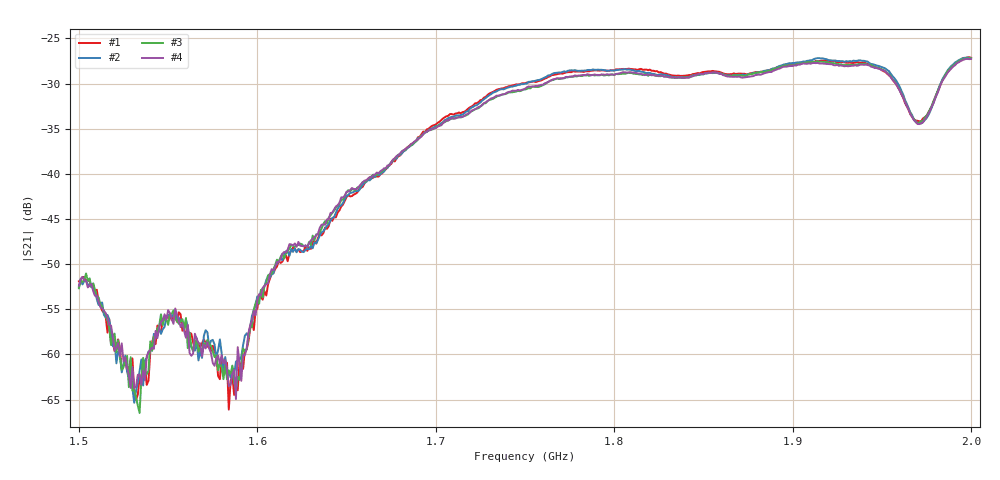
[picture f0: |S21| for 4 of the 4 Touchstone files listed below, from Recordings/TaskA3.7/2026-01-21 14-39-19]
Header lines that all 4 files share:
! NanoVNA-App by SYSJOINT et al v1.1.209 (+OD18)
! Start: 1,5GHz Stop: 2GHz Points: 501
! S-Parameter data: F S11 S21 S12 S22
# Hz S RI R 50
!  Frequency  S11_Real  S11_Imag  S21_Real  S21_Imag  S12_Real  S12_Imag  S22_Real  S22_Imag
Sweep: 1.5 GHz to 2 GHz
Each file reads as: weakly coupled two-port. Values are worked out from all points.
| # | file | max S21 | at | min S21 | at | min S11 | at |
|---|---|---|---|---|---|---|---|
| 1 | 0.s2p | -27.09 dB | 1.999 GHz | -66.1 dB | 1.584 GHz | -29.5 dB | 1.817 GHz |
| 2 | 1.s2p | -27.10 dB | 1.998 GHz | -65.4 dB | 1.531 GHz | -30.0 dB | 1.817 GHz |
| 3 | 2.s2p | -27.18 dB | 2 GHz | -66.5 dB | 1.534 GHz | -30.1 dB | 1.817 GHz |
| 4 | 3.s2p | -27.26 dB | 1.998 GHz | -64.9 dB | 1.588 GHz | -29.7 dB | 1.817 GHz |
